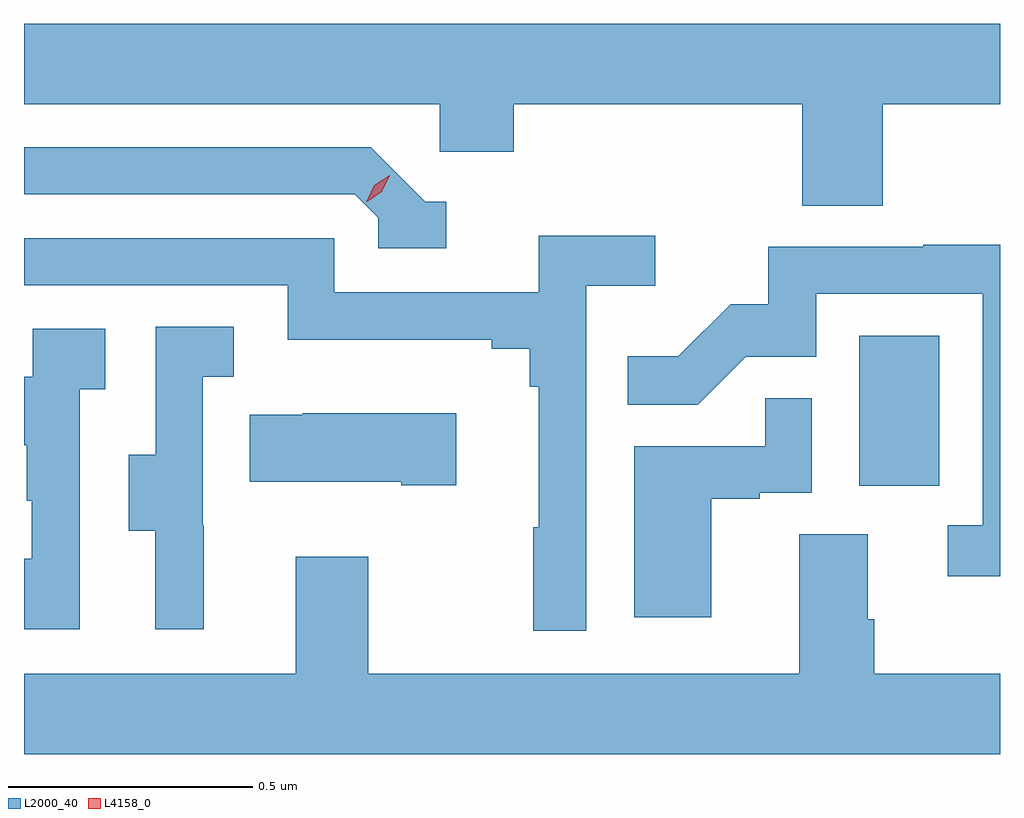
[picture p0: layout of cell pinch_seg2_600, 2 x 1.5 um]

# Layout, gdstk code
import gdstk
lib = gdstk.Library(unit=1e-6, precision=1e-09)
def R(c, l, rs):  # rectangles x0, y0, x1, y1
    for r in rs: c.add(gdstk.rectangle(r[:2], r[2:], *l))
def P(c, l, *ps):  # polygons
    for p in ps: c.add(gdstk.Polygon(p, *l))
L2000_40 = (2000, 40)
L4158_0 = (4158, 0)

pinch_seg2_600 = lib.new_cell('pinch_seg2_600')
R(pinch_seg2_600, L2000_40, [(1079.558,612.222,1079.722,612.529)])
P(pinch_seg2_600, L2000_40, [(1079.606,613.004),(1079.846,613.004),(1079.846,613.168),(1077.846,613.168),(1077.846,613.004),(1078.698,613.004),(1078.698,612.906),(1078.85,612.906),(1078.85,613.004),(1079.441,613.004),(1079.441,612.796),(1079.606,612.796)],
  [(1078.711,612.804),(1078.668,612.804),(1078.557,612.915),(1077.846,612.915),(1077.846,612.819),(1078.524,612.819),(1078.572,612.771),(1078.572,612.708),(1078.711,612.708)],
  [(1078.998,612.632),(1079.14,612.632),(1079.14,612.734),(1078.901,612.734),(1078.901,612.618),(1078.482,612.618),(1078.482,612.729),(1077.846,612.729),(1077.846,612.633),(1078.386,612.633),(1078.386,612.521),(1078.805,612.521),(1078.805,612.502),(1078.882,612.502),(1078.882,612.425),(1078.901,612.425),(1078.901,612.137),(1078.89,612.137),(1078.89,611.925),(1078.998,611.925)],
  [(1079.846,612.716),(1079.689,612.716),(1079.689,612.711),(1079.371,612.711),(1079.371,612.594),(1079.294,612.594),(1079.187,612.487),(1079.083,612.487),(1079.083,612.388),(1079.227,612.388),(1079.325,612.486),(1079.469,612.486),(1079.469,612.615),(1079.811,612.615),(1079.811,612.141),(1079.739,612.141),(1079.739,612.036),(1079.846,612.036)],
  [(1078.214,612.141),(1078.212,612.141),(1078.212,612.445),(1078.276,612.445),(1078.276,612.548),(1078.116,612.548),(1078.116,612.285),(1078.061,612.285),(1078.061,612.13),(1078.115,612.13),(1078.115,611.928),(1078.214,611.928)],
  [(1077.96,612.419),(1078.012,612.419),(1078.012,612.543),(1077.864,612.543),(1077.864,612.445),(1077.846,612.445),(1077.846,612.305),(1077.852,612.305),(1077.852,612.191),(1077.862,612.191),(1077.862,612.072),(1077.846,612.072),(1077.846,611.928),(1077.96,611.928)],
  [(1079.254,612.195),(1079.354,612.195),(1079.354,612.207),(1079.46,612.207),(1079.46,612.401),(1079.365,612.401),(1079.365,612.303),(1079.096,612.303),(1079.096,611.952),(1079.254,611.952)],
  [(1078.732,612.37),(1078.417,612.37),(1078.417,612.367),(1078.309,612.367),(1078.309,612.23),(1078.619,612.23),(1078.619,612.223),(1078.732,612.223)],
  [(1079.846,611.836),(1079.588,611.836),(1079.588,611.948),(1079.575,611.948),(1079.575,612.122),(1079.435,612.122),(1079.435,611.836),(1078.551,611.836),(1078.551,612.076),(1078.403,612.076),(1078.403,611.836),(1077.846,611.836),(1077.846,611.672),(1079.846,611.672)])
P(pinch_seg2_600, L4158_0, [(1078.548,612.804),(1078.548,612.805),(1078.564,612.838),(1078.595,612.858),(1078.595,612.858),(1078.595,612.857),(1078.579,612.824),(1078.549,612.804)])

lib.write_gds('pinch_seg2_600.gds')
